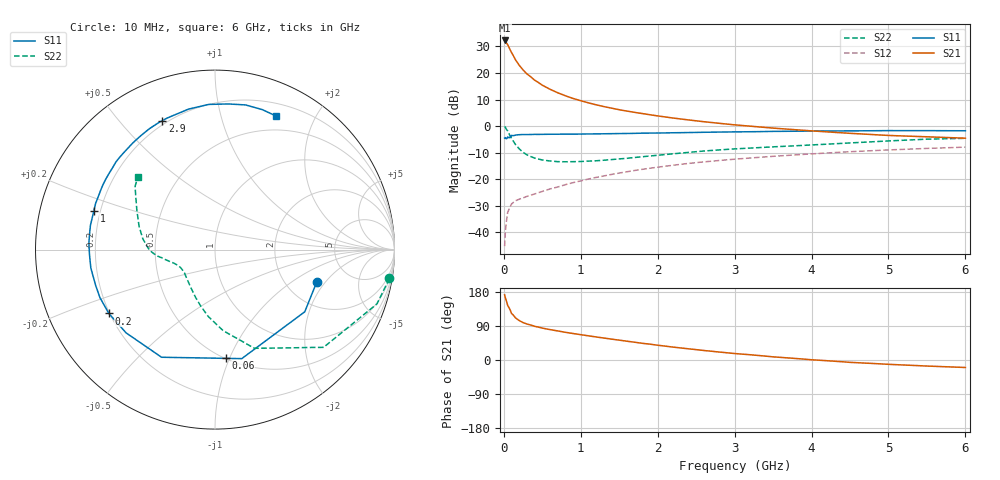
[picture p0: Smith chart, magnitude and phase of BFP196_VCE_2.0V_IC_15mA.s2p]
! (c) 2017  Infineon Technologies AG, Munich
! Infineon Technologies  Discrete & RF Semiconductors
! BFP196
! VCE =  2.0 V,  IC =  15 mA
! Common Emitter S-Parameters:  Jan 2017
# GHz  S  MA  R  50
!  f  S11  S21  S12  S22
! GHz  MAG  ANG  MAG  ANG  MAG  ANG  MAG  ANG
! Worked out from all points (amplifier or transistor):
!   77 points, 10 MHz to 6 GHz, reference 50 ohm
!   highest |S21| = 32.3 dB at 10 MHz (marker M1)
!   |S21| within 3 dB of that: start of sweep to 73.49 MHz
!   unconditionally stable (mu >= 1): 838.6 MHz to 2.483 GHz
!   at 130 MHz: K = 0.32, MSG = 27.4 dB, |S12| = -28.6 dB
!   at 2.2 GHz: K = 1.02, MAG = 8.0 dB, |S12| = -14.7 dB
!   at 6 GHz: K = 0.95, MSG = 1.7 dB, |S12| = -7.9 dB
!   S11 on the Smith chart (normalised r, x): 10 MHz: 2.92, -1.64; 60 MHz: 0.50, -0.97; 200 MHz: 0.20, -0.27; 1 GHz: 0.17, +0.15; 2.9 GHz: 0.18, +0.66; 6 GHz: 0.33, +1.50
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0.01  0.5948 -17.8  40.99 171.8  0.0055 83.1  0.9849 -9.4
0.02  0.6084 -34.7  40.4 164.0  0.0103 80.1  0.9519 -18.5
0.05  0.6255 -76.2  34.07 143.6  0.0238 59.4  0.814 -42.0
0.06  0.6089 -84.4  31.84 140.5  0.0257 55.9  0.7593 -45.9
0.1  0.6696 -116.4  24.29 122.8  0.0342 46.0  0.5923 -68.2
0.15  0.6788 -136.9  17.87 111.4  0.0393 40.6  0.4536 -84.3
0.2  0.6902 -149.0  13.99 104.1  0.0421 38.6  0.3738 -95.9
0.25  0.6946 -157.4  11.43 98.7  0.0446 39.4  0.3222 -104.6
0.3  0.6942 -163.3  9.626 95.0  0.0476 40.2  0.2878 -112.0
0.4  0.6994 -171.6  7.335 88.9  0.0528 43.7  0.25 -122.8
0.5  0.7 -177.9  5.899 84.2  0.059 46.2  0.2308 -130.9
0.6  0.7035 177.0  4.948 80.2  0.0657 48.4  0.2206 -137.4
0.7  0.7043 172.9  4.249 76.7  0.0714 50.2  0.2145 -142.1
1  0.7087 162.2  3.007 66.8  0.0932 53.0  0.2157 -152.0
1.1  0.7133 158.9  2.741 63.8  0.101 53.5  0.2194 -154.1
1.5  0.7244 147.0  2.037 52.4  0.1308 52.5  0.2416 -161.8
2.1  0.7452 130.3  1.487 36.6  0.176 48.0  0.2919 -170.1
2.9  0.776 112.2  1.093 19.1  0.2321 39.6  0.3648 -179.9
3.1  0.7814 108.2  1.027 15.5  0.2448 37.4  0.3793 177.1
4.1  0.8095 91.0  0.797 -0.6  0.3061 26.3  0.4498 161.0
5.1  0.8228 76.8  0.66 -12.3  0.361 14.6  0.5346 145.8
6  0.8184 65.6  0.593 -19.8  0.4027 4.5  0.5899 136.8
